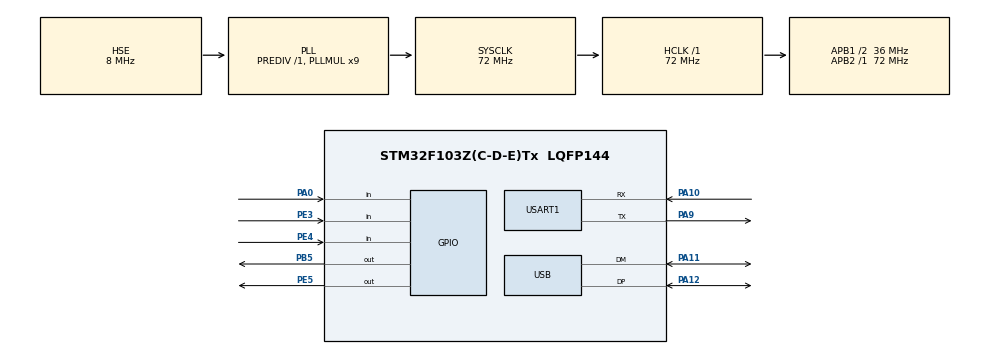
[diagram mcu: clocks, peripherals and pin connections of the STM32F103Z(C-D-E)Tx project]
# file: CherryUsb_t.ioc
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Mcu.Family=STM32F1
Mcu.Name=STM32F103Z(C-D-E)Tx
Mcu.Package=LQFP144
NVIC.PriorityGroup=NVIC_PRIORITYGROUP_4
NVIC.TIM6_IRQn=true\:15\:0\:false\:false\:true\:false\:true\:true
NVIC.TIM7_IRQn=true\:0\:0\:false\:false\:true\:true\:true\:true
NVIC.TimeBase=TIM6_IRQn
NVIC.TimeBaseIP=TIM6
NVIC.USB_HP_CAN1_TX_IRQn=true\:0\:0\:false\:false\:true\:true\:true\:true
NVIC.USB_LP_CAN1_RX0_IRQn=true\:0\:0\:false\:false\:true\:true\:true\:true
OSC_IN.Mode=HSE-External-Oscillator
OSC_IN.Signal=RCC_OSC_IN
OSC_OUT.Mode=HSE-External-Oscillator
OSC_OUT.Signal=RCC_OSC_OUT
PA0-WKUP.GPIO_PuPd=GPIO_PULLDOWN
PA0-WKUP.Signal=GPIO_Input
PA10.Mode=Asynchronous
PA10.Signal=USART1_RX
PA11.Mode=Device
PA11.Signal=USB_DM
PA12.Mode=Device
PA12.Signal=USB_DP
PA13.Mode=Serial_Wire
PA13.Signal=SYS_JTMS-SWDIO
PA14.Mode=Serial_Wire
PA14.Signal=SYS_JTCK-SWCLK
PA9.Mode=Asynchronous
PA9.Signal=USART1_TX
PB5.Signal=GPIO_Output
PE3.GPIO_PuPd=GPIO_PULLUP
PE3.Signal=GPIO_Input
PE4.GPIO_PuPd=GPIO_PULLUP
PE4.Signal=GPIO_Input
PE5.Signal=GPIO_Output
ProjectManager.HeapSize=0x200
ProjectManager.StackSize=0x400
ProjectManager.TargetToolchain=CMake
RCC.AHBFreq_Value=72000000
RCC.APB1CLKDivider=RCC_HCLK_DIV2
RCC.APB1Freq_Value=36000000
RCC.APB1TimFreq_Value=72000000
RCC.APB2Freq_Value=72000000
RCC.APB2TimFreq_Value=72000000
RCC.HCLKFreq_Value=72000000
RCC.PLLMUL=RCC_PLL_MUL9
RCC.PLLSourceVirtual=RCC_PLLSOURCE_HSE
RCC.SYSCLKFreq_VALUE=72000000
RCC.SYSCLKSource=RCC_SYSCLKSOURCE_PLLCLK
RCC.USBFreq_Value=48000000
RCC.USBPrescaler=RCC_USBCLKSOURCE_PLL_DIV1_5
TIM7.AutoReloadPreload=TIM_AUTORELOAD_PRELOAD_ENABLE
TIM7.Period=5000-1
TIM7.Prescaler=72-1
USART1.VirtualMode=VM_ASYNC
VP_SYS_VS_tim6.Mode=TIM6
VP_TIM7_VS_ClockSourceINT.Mode=Enable_Timer
board=custom

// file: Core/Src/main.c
/* USER CODE BEGIN Header */
/**
  ******************************************************************************
  * @file           : main.c
  * @brief          : Main program body
  ******************************************************************************
  * @attention
  *
  * Copyright (c) 2026 STMicroelectronics.
  * All rights reserved.
  *
  * This software is licensed under terms that can be found in the LICENSE file
  * in the root directory of this software component.
  * If no LICENSE file comes with this software, it is provided AS-IS.
  *
  ******************************************************************************
  */
/* USER CODE END Header */
#include "main.h"
#include "tim.h"
#include "usart.h"
#include "usb.h"
#include "gpio.h"

/* USER CODE BEGIN Includes */
#include "stdio.h"
#include "KEY.h"
KEY_U8 k_buf[10];
KEY_U8 k_value[2];
KEY_U8 k_now_state[2];
KEY_U8 k_old_state[2];
uint8_t report1[20] = {0x00,20};
uint8_t report[20] = {0x00,0x20};
void ka_h(KEY_U32 a)
{
    // switch (a)
    // {
    //   case 0 : HAL_GPIO_TogglePin(GPIOB,GPIO_PIN_5);break;
    //   case 1 : HAL_GPIO_TogglePin(GPIOE,GPIO_PIN_5);break;
    //   default : break;
    // }

    switch (a)
    {
//      case 0 : report[2] &= 0xFE;report[16] &= 0xFE;   break;
//      case 1 : report[2] &= 0xFD;report[16] &= 0xFD; break;
      case 0 : report[1] &= 0xFE;report[8] &= 0xFE;report1[3] &= (~(0x01 << 2));break;
      case 1 : report[1] &= 0xFD;report[8] &= 0xFD;break;
      default : break;
    }
}
void ka_l(KEY_U32 a)
{
    switch (a)
    {
      case 0 : report[1] |= 0x01;report[8] |= 0x01;report1[3] |= (0x01 << 2);break;
      case 1 : report[1] |= (0x02);report[8] |= (0x02);break;
      default : break;
    }
    // switch (a)
    // {
    //   case 0 : HAL_GPIO_TogglePin(GPIOB,GPIO_PIN_5);break;
    //   case 1 : HAL_GPIO_TogglePin(GPIOE,GPIO_PIN_5);break;
    //   default : break;
    // }
}
KEY_HandleTypeDef key_handler =
{
    k_value,
    k_buf,
    k_now_state,
    k_old_state,
    ka_h,
    ka_l,
};
/* USER CODE END Includes */

/* USER CODE BEGIN PTD */
void hid_keyboard_init(uint8_t busid, uintptr_t reg_base);
int usb_dc_init(uint8_t busid);
extern __uint8_t out_flag;
extern volatile __uint8_t read_buffer[64];
/* USER CODE END PTD */

void SystemClock_Config(void);
/* USER CODE BEGIN PFP */
void usbd_port_config(uint8_t state)
{
 GPIO_InitTypeDef GPIO_Initure;
 __HAL_RCC_GPIOA_CLK_ENABLE(); /* 使能 PORTA 时钟 */
 if (state)
 {
 USB->CNTR &= ~(1 << 1); /* PWDN = 0, 退出断电模式 */
 /* PA11 引脚模式设置,复用功能 */
 GPIO_Initure.Pin = GPIO_PIN_11;
 GPIO_Initure.Mode = GPIO_MODE_AF_PP;
 GPIO_Initure.Pull = GPIO_PULLUP;
 GPIO_Initure.Speed = GPIO_SPEED_FREQ_HIGH;
 HAL_GPIO_Init(GPIOA, &GPIO_Initure);
 /* PA12 引脚模式设置,复用功能 */
 GPIO_Initure.Pin = GPIO_PIN_12;
 GPIO_Initure.Mode = GPIO_MODE_AF_PP;
 GPIO_Initure.Pull = GPIO_PULLUP;
 GPIO_Initure.Speed = GPIO_SPEED_FREQ_HIGH;
 HAL_GPIO_Init(GPIOA, &GPIO_Initure);
 }
 else
 {
 USB->CNTR |= 1 << 1; /* PWDN = 1, 进入断电模式 */
 /* PA11 引脚模式设置,推挽输出 */
 GPIO_Initure.Pin = GPIO_PIN_11;
 GPIO_Initure.Mode = GPIO_MODE_OUTPUT_PP;
 GPIO_Initure.Pull = GPIO_PULLUP;

 GPIO_Initure.Speed = GPIO_SPEED_FREQ_HIGH;
 HAL_GPIO_Init(GPIOA, &GPIO_Initure);
 /* PA12 引脚模式设置,推挽输出 */
 GPIO_Initure.Pin = GPIO_PIN_12;
 HAL_GPIO_Init(GPIOA, &GPIO_Initure);
 HAL_GPIO_WritePin(GPIOA, GPIO_PIN_11, GPIO_PIN_RESET); /* PA11 = 0 */
 HAL_GPIO_WritePin(GPIOA, GPIO_PIN_12, GPIO_PIN_RESET); /* PA12 = 0 */
 }
}
/* USER CODE END PFP */

int main(void)
{

  /* MCU Configuration--------------------------------------------------------*/

  /* Reset of all peripherals, Initializes the Flash interface and the Systick. */
  HAL_Init();

  /* Configure the system clock */
  SystemClock_Config();

  /* Initialize all configured peripherals */
  MX_GPIO_Init();
  MX_USART1_UART_Init();
  MX_TIM7_Init();
  /* USER CODE BEGIN 2 */
    usbd_port_config(0);
  HAL_Delay(100);
  usbd_port_config(1);
  hid_keyboard_init(0,USB_BASE);
  setvbuf(stdout, NULL, _IONBF, 0);
  HAL_Delay(20);
  HAL_TIM_Base_Start_IT(&htim7);
  /* USER CODE END 2 */

  /* Infinite loop */
  while (1)
  {

    /* USER CODE BEGIN 3 */
    if(out_flag)
    {
      out_flag = 0;
    }
  }
  /* USER CODE END 3 */
}

void SystemClock_Config(void)
{
  RCC_OscInitTypeDef RCC_OscInitStruct = {0};
  RCC_ClkInitTypeDef RCC_ClkInitStruct = {0};
  RCC_PeriphCLKInitTypeDef PeriphClkInit = {0};

  /** Initializes the RCC Oscillators according to the specified parameters
  * in the RCC_OscInitTypeDef structure.
  */
  RCC_OscInitStruct.OscillatorType = RCC_OSCILLATORTYPE_HSE;
  RCC_OscInitStruct.HSEState = RCC_HSE_ON;
  RCC_OscInitStruct.HSEPredivValue = RCC_HSE_PREDIV_DIV1;
  RCC_OscInitStruct.HSIState = RCC_HSI_ON;
  RCC_OscInitStruct.PLL.PLLState = RCC_PLL_ON;
  RCC_OscInitStruct.PLL.PLLSource = RCC_PLLSOURCE_HSE;
  RCC_OscInitStruct.PLL.PLLMUL = RCC_PLL_MUL9;
  if (HAL_RCC_OscConfig(&RCC_OscInitStruct) != HAL_OK)
  {
    Error_Handler();
  }

  /** Initializes the CPU, AHB and APB buses clocks
  */
  RCC_ClkInitStruct.ClockType = RCC_CLOCKTYPE_HCLK|RCC_CLOCKTYPE_SYSCLK
                              |RCC_CLOCKTYPE_PCLK1|RCC_CLOCKTYPE_PCLK2;
  RCC_ClkInitStruct.SYSCLKSource = RCC_SYSCLKSOURCE_PLLCLK;
  RCC_ClkInitStruct.AHBCLKDivider = RCC_SYSCLK_DIV1;
  RCC_ClkInitStruct.APB1CLKDivider = RCC_HCLK_DIV2;
  RCC_ClkInitStruct.APB2CLKDivider = RCC_HCLK_DIV1;

  if (HAL_RCC_ClockConfig(&RCC_ClkInitStruct, FLASH_LATENCY_2) != HAL_OK)
  {
    Error_Handler();
  }
  PeriphClkInit.PeriphClockSelection = RCC_PERIPHCLK_USB;
  PeriphClkInit.UsbClockSelection = RCC_USBCLKSOURCE_PLL_DIV1_5;
  if (HAL_RCCEx_PeriphCLKConfig(&PeriphClkInit) != HAL_OK)
  {
    Error_Handler();
  }
}

void HAL_TIM_PeriodElapsedCallback(TIM_HandleTypeDef *htim)
{
  if (htim->Instance == TIM6)
  {
    HAL_IncTick();
  }
}

void Error_Handler(void)
{
  __disable_irq();
  while (1)
  {
  }
}
